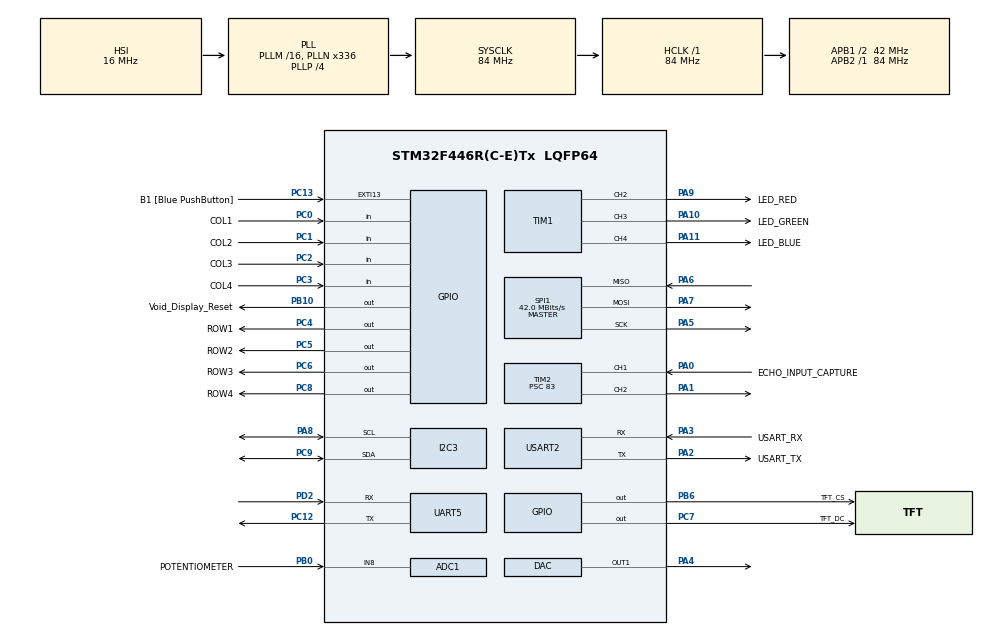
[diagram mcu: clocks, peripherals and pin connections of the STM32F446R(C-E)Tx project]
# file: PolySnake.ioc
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ADC1.Channel-0\#ChannelRegularConversion=ADC_CHANNEL_8
ADC1.NbrOfConversionFlag=1
ADC1.Rank-0\#ChannelRegularConversion=1
ADC1.SamplingTime-0\#ChannelRegularConversion=ADC_SAMPLETIME_3CYCLES
ADC1.master=1
DAC.DAC_Trigger=DAC_TRIGGER_T4_TRGO
Dma.DAC1.0.Direction=DMA_MEMORY_TO_PERIPH
Dma.DAC1.0.FIFOMode=DMA_FIFOMODE_DISABLE
Dma.DAC1.0.Instance=DMA1_Stream5
Dma.DAC1.0.MemDataAlignment=DMA_MDATAALIGN_HALFWORD
Dma.DAC1.0.MemInc=DMA_MINC_ENABLE
Dma.DAC1.0.Mode=DMA_CIRCULAR
Dma.DAC1.0.PeriphDataAlignment=DMA_PDATAALIGN_HALFWORD
Dma.DAC1.0.PeriphInc=DMA_PINC_DISABLE
Dma.DAC1.0.Priority=DMA_PRIORITY_HIGH
Dma.Request0=DAC1
Dma.Request1=SPI1_RX
Dma.Request2=SPI1_TX
Dma.Request3=UART5_RX
Dma.Request4=UART5_TX
Dma.SPI1_RX.1.Direction=DMA_PERIPH_TO_MEMORY
Dma.SPI1_RX.1.FIFOMode=DMA_FIFOMODE_DISABLE
Dma.SPI1_RX.1.Instance=DMA2_Stream0
Dma.SPI1_RX.1.MemDataAlignment=DMA_MDATAALIGN_BYTE
Dma.SPI1_RX.1.MemInc=DMA_MINC_ENABLE
Dma.SPI1_RX.1.Mode=DMA_NORMAL
Dma.SPI1_RX.1.PeriphDataAlignment=DMA_PDATAALIGN_BYTE
Dma.SPI1_RX.1.PeriphInc=DMA_PINC_DISABLE
Dma.SPI1_RX.1.Priority=DMA_PRIORITY_HIGH
Dma.SPI1_TX.2.Direction=DMA_MEMORY_TO_PERIPH
Dma.SPI1_TX.2.FIFOMode=DMA_FIFOMODE_DISABLE
Dma.SPI1_TX.2.Instance=DMA2_Stream3
Dma.SPI1_TX.2.MemDataAlignment=DMA_MDATAALIGN_BYTE
Dma.SPI1_TX.2.MemInc=DMA_MINC_ENABLE
Dma.SPI1_TX.2.Mode=DMA_NORMAL
Dma.SPI1_TX.2.PeriphDataAlignment=DMA_PDATAALIGN_BYTE
Dma.SPI1_TX.2.PeriphInc=DMA_PINC_DISABLE
Dma.SPI1_TX.2.Priority=DMA_PRIORITY_HIGH
Dma.UART5_RX.3.Direction=DMA_PERIPH_TO_MEMORY
Dma.UART5_RX.3.FIFOMode=DMA_FIFOMODE_DISABLE
Dma.UART5_RX.3.Instance=DMA1_Stream0
Dma.UART5_RX.3.MemDataAlignment=DMA_MDATAALIGN_BYTE
Dma.UART5_RX.3.MemInc=DMA_MINC_ENABLE
Dma.UART5_RX.3.Mode=DMA_CIRCULAR
Dma.UART5_RX.3.PeriphDataAlignment=DMA_PDATAALIGN_BYTE
Dma.UART5_RX.3.PeriphInc=DMA_PINC_DISABLE
Dma.UART5_RX.3.Priority=DMA_PRIORITY_LOW
Dma.UART5_TX.4.Direction=DMA_MEMORY_TO_PERIPH
Dma.UART5_TX.4.FIFOMode=DMA_FIFOMODE_DISABLE
Dma.UART5_TX.4.Instance=DMA1_Stream7
Dma.UART5_TX.4.MemDataAlignment=DMA_MDATAALIGN_BYTE
Dma.UART5_TX.4.MemInc=DMA_MINC_ENABLE
Dma.UART5_TX.4.Mode=DMA_NORMAL
Dma.UART5_TX.4.PeriphDataAlignment=DMA_PDATAALIGN_BYTE
Dma.UART5_TX.4.PeriphInc=DMA_PINC_DISABLE
Dma.UART5_TX.4.Priority=DMA_PRIORITY_LOW
Mcu.Family=STM32F4
Mcu.Name=STM32F446R(C-E)Tx
Mcu.Package=LQFP64
NVIC.DMA1_Stream0_IRQn=true\:0\:0\:false\:false\:true\:false\:true\:true
NVIC.DMA1_Stream5_IRQn=true\:0\:0\:false\:false\:true\:false\:true\:true
NVIC.DMA1_Stream7_IRQn=true\:0\:0\:false\:false\:true\:false\:true\:true
NVIC.DMA2_Stream0_IRQn=true\:0\:0\:false\:false\:true\:false\:true\:true
NVIC.DMA2_Stream3_IRQn=true\:0\:0\:false\:false\:true\:false\:true\:true
NVIC.I2C3_ER_IRQn=true\:0\:0\:false\:false\:true\:true\:true\:true
NVIC.I2C3_EV_IRQn=true\:0\:0\:false\:false\:true\:true\:true\:true
NVIC.PriorityGroup=NVIC_PRIORITYGROUP_0
NVIC.SPI1_IRQn=true\:0\:0\:false\:false\:true\:true\:true\:true
NVIC.TIM2_IRQn=true\:0\:0\:false\:false\:true\:true\:true\:true
NVIC.TIM6_DAC_IRQn=true\:0\:0\:false\:false\:true\:true\:true\:true
NVIC.UART5_IRQn=true\:0\:0\:false\:false\:true\:true\:true\:true
NVIC.USART2_IRQn=true\:0\:0\:false\:false\:true\:true\:true\:true
PA0-WKUP.GPIO_Label=ECHO_INPUT_CAPTURE
PA0-WKUP.Signal=S_TIM2_CH1_ETR
PA1.Signal=S_TIM2_CH2
PA10.GPIO_Label=LED_GREEN
PA10.Signal=S_TIM1_CH3
PA11.GPIO_Label=LED_BLUE
PA11.Signal=S_TIM1_CH4
PA13.GPIO_Label=TMS
PA13.Mode=Serial_Wire
PA13.Signal=SYS_JTMS-SWDIO
PA14.GPIO_Label=TCK
PA14.Mode=Serial_Wire
PA14.Signal=SYS_JTCK-SWCLK
PA2.GPIO_Label=USART_TX
PA2.Mode=Asynchronous
PA2.Signal=USART2_TX
PA3.GPIO_Label=USART_RX
PA3.Mode=Asynchronous
PA3.Signal=USART2_RX
PA4.Signal=COMP_DAC1_group
PA5.Mode=Full_Duplex_Master
PA5.Signal=SPI1_SCK
PA6.Mode=Full_Duplex_Master
PA6.Signal=SPI1_MISO
PA7.Mode=Full_Duplex_Master
PA7.Signal=SPI1_MOSI
PA8.Mode=I2C
PA8.Signal=I2C3_SCL
PA9.GPIO_Label=LED_RED
PA9.Signal=S_TIM1_CH2
PB0.GPIO_Label=POTENTIOMETER
PB0.Signal=ADCx_IN8
PB10.GPIO_Label=Void_Display_Reset
PB10.Signal=GPIO_Output
PB3.GPIO_Label=SWO
PB3.Signal=SYS_JTDO-SWO
PB6.GPIO_Label=TFT_CS
PB6.Signal=GPIO_Output
PC0.GPIO_Label=COL1
PC0.GPIO_PuPd=GPIO_PULLUP
PC0.Signal=GPIO_Input
PC1.GPIO_Label=COL2
PC1.GPIO_PuPd=GPIO_PULLUP
PC1.Signal=GPIO_Input
PC12.Mode=Asynchronous
PC12.Signal=UART5_TX
PC13.GPIO_Label=B1 [Blue PushButton]
PC13.GPIO_ModeDefaultEXTI=GPIO_MODE_IT_FALLING
PC13.Signal=GPXTI13
PC14-OSC32_IN.Mode=LSE-External-Oscillator
PC14-OSC32_IN.Signal=RCC_OSC32_IN
PC15-OSC32_OUT.Mode=LSE-External-Oscillator
PC15-OSC32_OUT.Signal=RCC_OSC32_OUT
PC2.GPIO_Label=COL3
PC2.GPIO_PuPd=GPIO_PULLUP
PC2.Signal=GPIO_Input
PC3.GPIO_Label=COL4
PC3.GPIO_PuPd=GPIO_PULLUP
PC3.Signal=GPIO_Input
PC4.GPIO_Label=ROW1
PC4.GPIO_ModeDefaultOutputPP=GPIO_MODE_OUTPUT_OD
PC4.GPIO_PuPd=GPIO_NOPULL
PC4.Signal=GPIO_Output
PC5.GPIO_Label=ROW2
PC5.GPIO_ModeDefaultOutputPP=GPIO_MODE_OUTPUT_OD
PC5.GPIO_PuPd=GPIO_NOPULL
PC5.Signal=GPIO_Output
PC6.GPIO_Label=ROW3
PC6.GPIO_ModeDefaultOutputPP=GPIO_MODE_OUTPUT_OD
PC6.GPIO_PuPd=GPIO_NOPULL
PC6.Signal=GPIO_Output
PC7.GPIO_Label=TFT_DC
PC7.Signal=GPIO_Output
PC8.GPIO_Label=ROW4
PC8.GPIO_ModeDefaultOutputPP=GPIO_MODE_OUTPUT_OD
PC8.GPIO_PuPd=GPIO_NOPULL
PC8.Signal=GPIO_Output
PC9.Mode=I2C
PC9.Signal=I2C3_SDA
PD2.Mode=Asynchronous
PD2.Signal=UART5_RX
PH0-OSC_IN.Mode=HSE-External-Oscillator
PH0-OSC_IN.Signal=RCC_OSC_IN
PH1-OSC_OUT.Mode=HSE-External-Oscillator
PH1-OSC_OUT.Signal=RCC_OSC_OUT
ProjectManager.HeapSize=0x200
ProjectManager.StackSize=0x400
ProjectManager.TargetToolchain=STM32CubeIDE
RCC.48MHZClocksFreq_Value=84000000
RCC.AHBFreq_Value=84000000
RCC.APB1CLKDivider=RCC_HCLK_DIV2
RCC.APB1Freq_Value=42000000
RCC.APB1TimFreq_Value=84000000
RCC.APB2Freq_Value=84000000
RCC.APB2TimFreq_Value=84000000
RCC.CortexFreq_Value=84000000
RCC.FLatency-AdvancedSettings=FLASH_LATENCY_2
RCC.HCLKFreq_Value=84000000
RCC.HSE_VALUE=8000000
RCC.HSI_VALUE=16000000
RCC.PLLN=336
RCC.PLLP=RCC_PLLP_DIV4
RCC.SYSCLKFreq_VALUE=84000000
RCC.SYSCLKSource=RCC_SYSCLKSOURCE_PLLCLK
RCC.USBFreq_Value=168000000
RCC.VCOOutputFreq_Value=336000000
SH.ADCx_IN8.0=ADC1_IN8,IN8
SH.COMP_DAC1_group.0=DAC_OUT1,DAC_OUT1
SH.S_TIM1_CH2.0=TIM1_CH2,PWM Generation2 CH2
SH.S_TIM1_CH3.0=TIM1_CH3,PWM Generation3 CH3
SH.S_TIM1_CH4.0=TIM1_CH4,PWM Generation4 CH4
SH.S_TIM2_CH1_ETR.0=TIM2_CH1,Input_Capture1_from_TI1
SH.S_TIM2_CH2.0=TIM2_CH2,PWM Generation2 CH2
SPI1.CalculateBaudRate=42.0 MBits/s
SPI1.Direction=SPI_DIRECTION_2LINES
SPI1.Mode=SPI_MODE_MASTER
SPI1.VirtualType=VM_MASTER
TIM1.AutoReloadPreload=TIM_AUTORELOAD_PRELOAD_ENABLE
TIM1.Channel-PWM\ Generation2\ CH2=TIM_CHANNEL_2
TIM1.Channel-PWM\ Generation3\ CH3=TIM_CHANNEL_3
TIM1.Channel-PWM\ Generation4\ CH4=TIM_CHANNEL_4
TIM2.Channel-Input_Capture1_from_TI1=TIM_CHANNEL_1
TIM2.Channel-PWM\ Generation2\ CH2=TIM_CHANNEL_2
TIM2.ICPolarity_CH1=TIM_INPUTCHANNELPOLARITY_BOTHEDGE
TIM2.Period=199999
TIM2.Prescaler=83
TIM2.Pulse-PWM\ Generation2\ CH2=10
TIM2.TIM_MasterOutputTrigger=TIM_TRGO_RESET
TIM4.Period=24
TIM4.Prescaler=49
TIM4.TIM_MasterOutputTrigger=TIM_TRGO_UPDATE
TIM6.Period=999
TIM6.Prescaler=83
UART5.VirtualMode=Asynchronous
USART2.VirtualMode=VM_ASYNC
VP_TIM1_VS_ClockSourceINT.Mode=Internal
VP_TIM2_VS_ClockSourceINT.Mode=Internal
VP_TIM4_VS_ClockSourceINT.Mode=Internal
VP_TIM6_VS_ClockSourceINT.Mode=Enable_Timer
board=NUCLEO-F446RE

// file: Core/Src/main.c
/* USER CODE BEGIN Header */
/**
  ******************************************************************************
  * @file           : main.c
  * @brief          : Main program body
  ******************************************************************************
  * @attention
  *
  * Copyright (c) 2025 STMicroelectronics.
  * All rights reserved.
  *
  * This software is licensed under terms that can be found in the LICENSE file
  * in the root directory of this software component.
  * If no LICENSE file comes with this software, it is provided AS-IS.
  *
  ******************************************************************************
  */
/* USER CODE END Header */
#include "main.h"

/* USER CODE BEGIN Includes */
#include "cpp_main.h"
/* USER CODE END Includes */

ADC_HandleTypeDef hadc1;

DAC_HandleTypeDef hdac;
DMA_HandleTypeDef hdma_dac1;

I2C_HandleTypeDef hi2c3;

SPI_HandleTypeDef hspi1;
DMA_HandleTypeDef hdma_spi1_rx;
DMA_HandleTypeDef hdma_spi1_tx;

TIM_HandleTypeDef htim1;
TIM_HandleTypeDef htim2;
TIM_HandleTypeDef htim4;
TIM_HandleTypeDef htim6;

UART_HandleTypeDef huart5;
UART_HandleTypeDef huart2;
DMA_HandleTypeDef hdma_uart5_rx;
DMA_HandleTypeDef hdma_uart5_tx;

void SystemClock_Config(void);
static void MX_GPIO_Init(void);
static void MX_DMA_Init(void);
static void MX_USART2_UART_Init(void);
static void MX_DAC_Init(void);
static void MX_TIM6_Init(void);
static void MX_TIM2_Init(void);
static void MX_TIM4_Init(void);
static void MX_SPI1_Init(void);
static void MX_UART5_Init(void);
static void MX_I2C3_Init(void);
static void MX_ADC1_Init(void);
static void MX_TIM1_Init(void);

int main(void)
{

  /* MCU Configuration--------------------------------------------------------*/

  /* Reset of all peripherals, Initializes the Flash interface and the Systick. */
  HAL_Init();

  /* Configure the system clock */
  SystemClock_Config();

  /* Initialize all configured peripherals */
  MX_GPIO_Init();
  MX_DMA_Init();
  MX_USART2_UART_Init();
  MX_DAC_Init();
  MX_TIM6_Init();
  MX_TIM2_Init();
  MX_TIM4_Init();
  MX_SPI1_Init();
  MX_UART5_Init();
  MX_I2C3_Init();
  MX_ADC1_Init();
  MX_TIM1_Init();
  /* USER CODE BEGIN 2 */
  peripheral_handles handles = {
  	  .hdac = &hdac,
  	  .htim_dac = &htim4,
  	  .hspi_tft = &hspi1,
  	  .htim_distance = &htim2,
  	  .htim_led = &htim1,
  	  .hi2c = &hi2c3,
  	  .huart = &huart5,
  	  .debug_uart = &huart2,
  	  .hadc = &hadc1,
  	  .gpio_keypad = GPIOC
    };
  HAL_TIM_Base_Start_IT(&htim6);
  // Run CPP main
  cpp_main(&handles);

  /* USER CODE END 2 */

  /* Infinite loop */
  while (1)
  {

  }
}

void SystemClock_Config(void)
{
  RCC_OscInitTypeDef RCC_OscInitStruct = {0};
  RCC_ClkInitTypeDef RCC_ClkInitStruct = {0};

  /** Configure the main internal regulator output voltage
  */
  __HAL_RCC_PWR_CLK_ENABLE();
  __HAL_PWR_VOLTAGESCALING_CONFIG(PWR_REGULATOR_VOLTAGE_SCALE3);

  /** Initializes the RCC Oscillators according to the specified parameters
  * in the RCC_OscInitTypeDef structure.
  */
  RCC_OscInitStruct.OscillatorType = RCC_OSCILLATORTYPE_HSI;
  RCC_OscInitStruct.HSIState = RCC_HSI_ON;
  RCC_OscInitStruct.HSICalibrationValue = RCC_HSICALIBRATION_DEFAULT;
  RCC_OscInitStruct.PLL.PLLState = RCC_PLL_ON;
  RCC_OscInitStruct.PLL.PLLSource = RCC_PLLSOURCE_HSI;
  RCC_OscInitStruct.PLL.PLLM = 16;
  RCC_OscInitStruct.PLL.PLLN = 336;
  RCC_OscInitStruct.PLL.PLLP = RCC_PLLP_DIV4;
  RCC_OscInitStruct.PLL.PLLQ = 2;
  RCC_OscInitStruct.PLL.PLLR = 2;
  if (HAL_RCC_OscConfig(&RCC_OscInitStruct) != HAL_OK)
  {
    Error_Handler();
  }

  /** Initializes the CPU, AHB and APB buses clocks
  */
  RCC_ClkInitStruct.ClockType = RCC_CLOCKTYPE_HCLK|RCC_CLOCKTYPE_SYSCLK
                              |RCC_CLOCKTYPE_PCLK1|RCC_CLOCKTYPE_PCLK2;
  RCC_ClkInitStruct.SYSCLKSource = RCC_SYSCLKSOURCE_PLLCLK;
  RCC_ClkInitStruct.AHBCLKDivider = RCC_SYSCLK_DIV1;
  RCC_ClkInitStruct.APB1CLKDivider = RCC_HCLK_DIV2;
  RCC_ClkInitStruct.APB2CLKDivider = RCC_HCLK_DIV1;

  if (HAL_RCC_ClockConfig(&RCC_ClkInitStruct, FLASH_LATENCY_2) != HAL_OK)
  {
    Error_Handler();
  }
}

static void MX_ADC1_Init(void)
{

  ADC_ChannelConfTypeDef sConfig = {0};

  /** Configure the global features of the ADC (Clock, Resolution, Data Alignment and number of conversion)
  */
  hadc1.Instance = ADC1;
  hadc1.Init.ClockPrescaler = ADC_CLOCK_SYNC_PCLK_DIV4;
  hadc1.Init.Resolution = ADC_RESOLUTION_12B;
  hadc1.Init.ScanConvMode = DISABLE;
  hadc1.Init.ContinuousConvMode = DISABLE;
  hadc1.Init.DiscontinuousConvMode = DISABLE;
  hadc1.Init.ExternalTrigConvEdge = ADC_EXTERNALTRIGCONVEDGE_NONE;
  hadc1.Init.ExternalTrigConv = ADC_SOFTWARE_START;
  hadc1.Init.DataAlign = ADC_DATAALIGN_RIGHT;
  hadc1.Init.NbrOfConversion = 1;
  hadc1.Init.DMAContinuousRequests = DISABLE;
  hadc1.Init.EOCSelection = ADC_EOC_SINGLE_CONV;
  if (HAL_ADC_Init(&hadc1) != HAL_OK)
  {
    Error_Handler();
  }

  /** Configure for the selected ADC regular channel its corresponding rank in the sequencer and its sample time.
  */
  sConfig.Channel = ADC_CHANNEL_8;
  sConfig.Rank = 1;
  sConfig.SamplingTime = ADC_SAMPLETIME_3CYCLES;
  if (HAL_ADC_ConfigChannel(&hadc1, &sConfig) != HAL_OK)
  {
    Error_Handler();
  }

}

static void MX_DAC_Init(void)
{

  DAC_ChannelConfTypeDef sConfig = {0};

  /** DAC Initialization
  */
  hdac.Instance = DAC;
  if (HAL_DAC_Init(&hdac) != HAL_OK)
  {
    Error_Handler();
  }

  /** DAC channel OUT1 config
  */
  sConfig.DAC_Trigger = DAC_TRIGGER_T4_TRGO;
  sConfig.DAC_OutputBuffer = DAC_OUTPUTBUFFER_ENABLE;
  if (HAL_DAC_ConfigChannel(&hdac, &sConfig, DAC_CHANNEL_1) != HAL_OK)
  {
    Error_Handler();
  }

}

static void MX_I2C3_Init(void)
{

  hi2c3.Instance = I2C3;
  hi2c3.Init.ClockSpeed = 100000;
  hi2c3.Init.DutyCycle = I2C_DUTYCYCLE_2;
  hi2c3.Init.OwnAddress1 = 0;
  hi2c3.Init.AddressingMode = I2C_ADDRESSINGMODE_7BIT;
  hi2c3.Init.DualAddressMode = I2C_DUALADDRESS_DISABLE;
  hi2c3.Init.OwnAddress2 = 0;
  hi2c3.Init.GeneralCallMode = I2C_GENERALCALL_DISABLE;
  hi2c3.Init.NoStretchMode = I2C_NOSTRETCH_DISABLE;
  if (HAL_I2C_Init(&hi2c3) != HAL_OK)
  {
    Error_Handler();
  }

}

static void MX_SPI1_Init(void)
{

  /* SPI1 parameter configuration*/
  hspi1.Instance = SPI1;
  hspi1.Init.Mode = SPI_MODE_MASTER;
  hspi1.Init.Direction = SPI_DIRECTION_2LINES;
  hspi1.Init.DataSize = SPI_DATASIZE_8BIT;
  hspi1.Init.CLKPolarity = SPI_POLARITY_LOW;
  hspi1.Init.CLKPhase = SPI_PHASE_1EDGE;
  hspi1.Init.NSS = SPI_NSS_SOFT;
  hspi1.Init.BaudRatePrescaler = SPI_BAUDRATEPRESCALER_2;
  hspi1.Init.FirstBit = SPI_FIRSTBIT_MSB;
  hspi1.Init.TIMode = SPI_TIMODE_DISABLE;
  hspi1.Init.CRCCalculation = SPI_CRCCALCULATION_DISABLE;
  hspi1.Init.CRCPolynomial = 10;
  if (HAL_SPI_Init(&hspi1) != HAL_OK)
  {
    Error_Handler();
  }

}

static void MX_TIM1_Init(void)
{

  TIM_ClockConfigTypeDef sClockSourceConfig = {0};
  TIM_MasterConfigTypeDef sMasterConfig = {0};
  TIM_OC_InitTypeDef sConfigOC = {0};
  TIM_BreakDeadTimeConfigTypeDef sBreakDeadTimeConfig = {0};

  htim1.Instance = TIM1;
  htim1.Init.Prescaler = 0;
  htim1.Init.CounterMode = TIM_COUNTERMODE_UP;
  htim1.Init.Period = 65535;
  htim1.Init.ClockDivision = TIM_CLOCKDIVISION_DIV1;
  htim1.Init.RepetitionCounter = 0;
  htim1.Init.AutoReloadPreload = TIM_AUTORELOAD_PRELOAD_ENABLE;
  if (HAL_TIM_Base_Init(&htim1) != HAL_OK)
  {
    Error_Handler();
  }
  sClockSourceConfig.ClockSource = TIM_CLOCKSOURCE_INTERNAL;
  if (HAL_TIM_ConfigClockSource(&htim1, &sClockSourceConfig) != HAL_OK)
  {
    Error_Handler();
  }
  if (HAL_TIM_PWM_Init(&htim1) != HAL_OK)
  {
    Error_Handler();
  }
  sMasterConfig.MasterOutputTrigger = TIM_TRGO_RESET;
  sMasterConfig.MasterSlaveMode = TIM_MASTERSLAVEMODE_DISABLE;
  if (HAL_TIMEx_MasterConfigSynchronization(&htim1, &sMasterConfig) != HAL_OK)
  {
    Error_Handler();
  }
  sConfigOC.OCMode = TIM_OCMODE_PWM1;
  sConfigOC.Pulse = 0;
  sConfigOC.OCPolarity = TIM_OCPOLARITY_HIGH;
  sConfigOC.OCNPolarity = TIM_OCNPOLARITY_HIGH;
  sConfigOC.OCFastMode = TIM_OCFAST_DISABLE;
  sConfigOC.OCIdleState = TIM_OCIDLESTATE_RESET;
  sConfigOC.OCNIdleState = TIM_OCNIDLESTATE_RESET;
  if (HAL_TIM_PWM_ConfigChannel(&htim1, &sConfigOC, TIM_CHANNEL_2) != HAL_OK)
  {
    Error_Handler();
  }
  if (HAL_TIM_PWM_ConfigChannel(&htim1, &sConfigOC, TIM_CHANNEL_3) != HAL_OK)
  {
    Error_Handler();
  }
  if (HAL_TIM_PWM_ConfigChannel(&htim1, &sConfigOC, TIM_CHANNEL_4) != HAL_OK)
  {
    Error_Handler();
  }
  sBreakDeadTimeConfig.OffStateRunMode = TIM_OSSR_DISABLE;
  sBreakDeadTimeConfig.OffStateIDLEMode = TIM_OSSI_DISABLE;
  sBreakDeadTimeConfig.LockLevel = TIM_LOCKLEVEL_OFF;
  sBreakDeadTimeConfig.DeadTime = 0;
  sBreakDeadTimeConfig.BreakState = TIM_BREAK_DISABLE;
  sBreakDeadTimeConfig.BreakPolarity = TIM_BREAKPOLARITY_HIGH;
  sBreakDeadTimeConfig.AutomaticOutput = TIM_AUTOMATICOUTPUT_DISABLE;
  if (HAL_TIMEx_ConfigBreakDeadTime(&htim1, &sBreakDeadTimeConfig) != HAL_OK)
  {
    Error_Handler();
  }
  HAL_TIM_MspPostInit(&htim1);

}

static void MX_TIM2_Init(void)
{

  TIM_ClockConfigTypeDef sClockSourceConfig = {0};
  TIM_MasterConfigTypeDef sMasterConfig = {0};
  TIM_IC_InitTypeDef sConfigIC = {0};
  TIM_OC_InitTypeDef sConfigOC = {0};

  htim2.Instance = TIM2;
  htim2.Init.Prescaler = 83;
  htim2.Init.CounterMode = TIM_COUNTERMODE_UP;
  htim2.Init.Period = 199999;
  htim2.Init.ClockDivision = TIM_CLOCKDIVISION_DIV1;
  htim2.Init.AutoReloadPreload = TIM_AUTORELOAD_PRELOAD_DISABLE;
  if (HAL_TIM_Base_Init(&htim2) != HAL_OK)
  {
    Error_Handler();
  }
  sClockSourceConfig.ClockSource = TIM_CLOCKSOURCE_INTERNAL;
  if (HAL_TIM_ConfigClockSource(&htim2, &sClockSourceConfig) != HAL_OK)
  {
    Error_Handler();
  }
  if (HAL_TIM_IC_Init(&htim2) != HAL_OK)
  {
    Error_Handler();
  }
  if (HAL_TIM_PWM_Init(&htim2) != HAL_OK)
  {
    Error_Handler();
  }
  sMasterConfig.MasterOutputTrigger = TIM_TRGO_RESET;
  sMasterConfig.MasterSlaveMode = TIM_MASTERSLAVEMODE_DISABLE;
  if (HAL_TIMEx_MasterConfigSynchronization(&htim2, &sMasterConfig) != HAL_OK)
  {
    Error_Handler();
  }
  sConfigIC.ICPolarity = TIM_INPUTCHANNELPOLARITY_BOTHEDGE;
  sConfigIC.ICSelection = TIM_ICSELECTION_DIRECTTI;
  sConfigIC.ICPrescaler = TIM_ICPSC_DIV1;
  sConfigIC.ICFilter = 0;
  if (HAL_TIM_IC_ConfigChannel(&htim2, &sConfigIC, TIM_CHANNEL_1) != HAL_OK)
  {
    Error_Handler();
  }
  sConfigOC.OCMode = TIM_OCMODE_PWM1;
  sConfigOC.Pulse = 10;
  sConfigOC.OCPolarity = TIM_OCPOLARITY_HIGH;
  sConfigOC.OCFastMode = TIM_OCFAST_DISABLE;
  if (HAL_TIM_PWM_ConfigChannel(&htim2, &sConfigOC, TIM_CHANNEL_2) != HAL_OK)
  {
    Error_Handler();
  }
  HAL_TIM_MspPostInit(&htim2);

}

static void MX_TIM4_Init(void)
{

  TIM_ClockConfigTypeDef sClockSourceConfig = {0};
  TIM_MasterConfigTypeDef sMasterConfig = {0};

  htim4.Instance = TIM4;
  htim4.Init.Prescaler = 49;
  htim4.Init.CounterMode = TIM_COUNTERMODE_UP;
  htim4.Init.Period = 24;
  htim4.Init.ClockDivision = TIM_CLOCKDIVISION_DIV1;
  htim4.Init.AutoReloadPreload = TIM_AUTORELOAD_PRELOAD_DISABLE;
  if (HAL_TIM_Base_Init(&htim4) != HAL_OK)
  {
    Error_Handler();
  }
  sClockSourceConfig.ClockSource = TIM_CLOCKSOURCE_INTERNAL;
  if (HAL_TIM_ConfigClockSource(&htim4, &sClockSourceConfig) != HAL_OK)
  {
    Error_Handler();
  }
  sMasterConfig.MasterOutputTrigger = TIM_TRGO_UPDATE;
  sMasterConfig.MasterSlaveMode = TIM_MASTERSLAVEMODE_DISABLE;
  if (HAL_TIMEx_MasterConfigSynchronization(&htim4, &sMasterConfig) != HAL_OK)
  {
    Error_Handler();
  }

}

static void MX_TIM6_Init(void)
{

  TIM_MasterConfigTypeDef sMasterConfig = {0};

  htim6.Instance = TIM6;
  htim6.Init.Prescaler = 83;
  htim6.Init.CounterMode = TIM_COUNTERMODE_UP;
  htim6.Init.Period = 999;
  htim6.Init.AutoReloadPreload = TIM_AUTORELOAD_PRELOAD_DISABLE;
  if (HAL_TIM_Base_Init(&htim6) != HAL_OK)
  {
    Error_Handler();
  }
  sMasterConfig.MasterOutputTrigger = TIM_TRGO_RESET;
  sMasterConfig.MasterSlaveMode = TIM_MASTERSLAVEMODE_DISABLE;
  if (HAL_TIMEx_MasterConfigSynchronization(&htim6, &sMasterConfig) != HAL_OK)
  {
    Error_Handler();
  }

}

static void MX_UART5_Init(void)
{

  huart5.Instance = UART5;
  huart5.Init.BaudRate = 115200;
  huart5.Init.WordLength = UART_WORDLENGTH_8B;
  huart5.Init.StopBits = UART_STOPBITS_1;
  huart5.Init.Parity = UART_PARITY_NONE;
  huart5.Init.Mode = UART_MODE_TX_RX;
  huart5.Init.HwFlowCtl = UART_HWCONTROL_NONE;
  huart5.Init.OverSampling = UART_OVERSAMPLING_16;
  if (HAL_UART_Init(&huart5) != HAL_OK)
  {
    Error_Handler();
  }

}

static void MX_USART2_UART_Init(void)
{

  huart2.Instance = USART2;
  huart2.Init.BaudRate = 115200;
  huart2.Init.WordLength = UART_WORDLENGTH_8B;
  huart2.Init.StopBits = UART_STOPBITS_1;
  huart2.Init.Parity = UART_PARITY_NONE;
  huart2.Init.Mode = UART_MODE_TX_RX;
  huart2.Init.HwFlowCtl = UART_HWCONTROL_NONE;
  huart2.Init.OverSampling = UART_OVERSAMPLING_16;
  if (HAL_UART_Init(&huart2) != HAL_OK)
  {
    Error_Handler();
  }

}

static void MX_DMA_Init(void)
{

  /* DMA controller clock enable */
  __HAL_RCC_DMA1_CLK_ENABLE();
  __HAL_RCC_DMA2_CLK_ENABLE();

  /* DMA interrupt init */
  /* DMA1_Stream0_IRQn interrupt configuration */
  HAL_NVIC_SetPriority(DMA1_Stream0_IRQn, 0, 0);
  HAL_NVIC_EnableIRQ(DMA1_Stream0_IRQn);
  /* DMA1_Stream5_IRQn interrupt configuration */
  HAL_NVIC_SetPriority(DMA1_Stream5_IRQn, 0, 0);
  HAL_NVIC_EnableIRQ(DMA1_Stream5_IRQn);
  /* DMA1_Stream7_IRQn interrupt configuration */
  HAL_NVIC_SetPriority(DMA1_Stream7_IRQn, 0, 0);
  HAL_NVIC_EnableIRQ(DMA1_Stream7_IRQn);
  /* DMA2_Stream0_IRQn interrupt configuration */
  HAL_NVIC_SetPriority(DMA2_Stream0_IRQn, 0, 0);
  HAL_NVIC_EnableIRQ(DMA2_Stream0_IRQn);
  /* DMA2_Stream3_IRQn interrupt configuration */
  HAL_NVIC_SetPriority(DMA2_Stream3_IRQn, 0, 0);
  HAL_NVIC_EnableIRQ(DMA2_Stream3_IRQn);

}

static void MX_GPIO_Init(void)
{
  GPIO_InitTypeDef GPIO_InitStruct = {0};

  /* GPIO Ports Clock Enable */
  __HAL_RCC_GPIOC_CLK_ENABLE();
  __HAL_RCC_GPIOH_CLK_ENABLE();
  __HAL_RCC_GPIOA_CLK_ENABLE();
  __HAL_RCC_GPIOB_CLK_ENABLE();
  __HAL_RCC_GPIOD_CLK_ENABLE();

  /*Configure GPIO pin Output Level */
  HAL_GPIO_WritePin(GPIOC, ROW1_Pin|ROW2_Pin|ROW3_Pin|TFT_DC_Pin
                          |ROW4_Pin, GPIO_PIN_RESET);

  /*Configure GPIO pin Output Level */
  HAL_GPIO_WritePin(GPIOB, Void_Display_Reset_Pin|TFT_CS_Pin, GPIO_PIN_RESET);

  /*Configure GPIO pin : B1_Pin */
  GPIO_InitStruct.Pin = B1_Pin;
  GPIO_InitStruct.Mode = GPIO_MODE_IT_FALLING;
  GPIO_InitStruct.Pull = GPIO_NOPULL;
  HAL_GPIO_Init(B1_GPIO_Port, &GPIO_InitStruct);

  /*Configure GPIO pins : COL1_Pin COL2_Pin COL3_Pin COL4_Pin */
  GPIO_InitStruct.Pin = COL1_Pin|COL2_Pin|COL3_Pin|COL4_Pin;
  GPIO_InitStruct.Mode = GPIO_MODE_INPUT;
  GPIO_InitStruct.Pull = GPIO_PULLUP;
  HAL_GPIO_Init(GPIOC, &GPIO_InitStruct);

  /*Configure GPIO pins : ROW1_Pin ROW2_Pin ROW3_Pin ROW4_Pin */
  GPIO_InitStruct.Pin = ROW1_Pin|ROW2_Pin|ROW3_Pin|ROW4_Pin;
  GPIO_InitStruct.Mode = GPIO_MODE_OUTPUT_OD;
  GPIO_InitStruct.Pull = GPIO_NOPULL;
  GPIO_InitStruct.Speed = GPIO_SPEED_FREQ_LOW;
  HAL_GPIO_Init(GPIOC, &GPIO_InitStruct);

  /*Configure GPIO pins : Void_Display_Reset_Pin TFT_CS_Pin */
  GPIO_InitStruct.Pin = Void_Display_Reset_Pin|TFT_CS_Pin;
  GPIO_InitStruct.Mode = GPIO_MODE_OUTPUT_PP;
  GPIO_InitStruct.Pull = GPIO_NOPULL;
  GPIO_InitStruct.Speed = GPIO_SPEED_FREQ_LOW;
  HAL_GPIO_Init(GPIOB, &GPIO_InitStruct);

  /*Configure GPIO pin : TFT_DC_Pin */
  GPIO_InitStruct.Pin = TFT_DC_Pin;
  GPIO_InitStruct.Mode = GPIO_MODE_OUTPUT_PP;
  GPIO_InitStruct.Pull = GPIO_NOPULL;
  GPIO_InitStruct.Speed = GPIO_SPEED_FREQ_LOW;
  HAL_GPIO_Init(TFT_DC_GPIO_Port, &GPIO_InitStruct);

}

/* USER CODE BEGIN 4 */
/** @brief Systick callback.
  */

// Prevent warning: _getentropy is not implemented
int getentropy(void *buffer, size_t length)
{
  return -1;
}
/* USER CODE END 4 */

void Error_Handler(void)
{
  __disable_irq();
  while (1)
  {
  }
}
